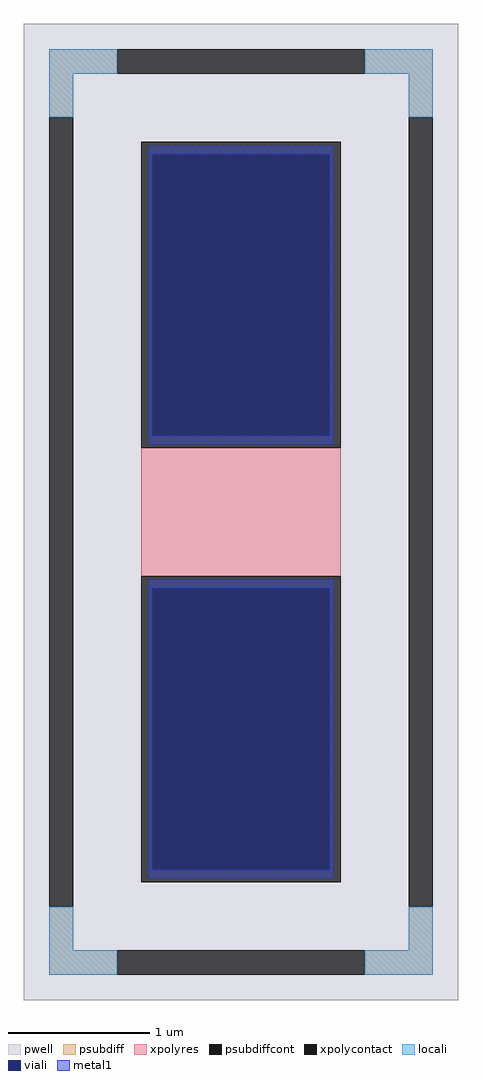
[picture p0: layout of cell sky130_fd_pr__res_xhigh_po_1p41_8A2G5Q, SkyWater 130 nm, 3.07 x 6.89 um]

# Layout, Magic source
magic
tech sky130A
magscale 1 2
<< pwell >>
rect -307 -689 307 689
<< psubdiff >>
rect -271 619 -175 653
rect 175 619 271 653
rect -271 557 -237 619
rect 237 557 271 619
rect -271 -619 -237 -557
rect 237 -619 271 -557
rect -271 -653 -175 -619
rect 175 -653 271 -619
<< psubdiffcont >>
rect -175 619 175 653
rect -271 -557 -237 557
rect 237 -557 271 557
rect -175 -653 175 -619
<< xpolycontact >>
rect -141 91 141 523
rect -141 -523 141 -91
<< xpolyres >>
rect -141 -91 141 91
<< locali >>
rect -271 619 -175 653
rect 175 619 271 653
rect -271 557 -237 619
rect 237 557 271 619
rect -271 -619 -237 -557
rect 237 -619 271 -557
rect -271 -653 -175 -619
rect 175 -653 271 -619
<< viali >>
rect -125 108 125 505
rect -125 -505 125 -108
<< metal1 >>
rect -131 505 131 517
rect -131 108 -125 505
rect 125 108 131 505
rect -131 96 131 108
rect -131 -108 131 -96
rect -131 -505 -125 -108
rect 125 -505 131 -108
rect -131 -517 131 -505
<< properties >>
string FIXED_BBOX -254 -636 254 636
string gencell sky130_fd_pr__res_xhigh_po_1p41
string library sky130
string parameters w 1.410 l 1.066 m 1 nx 1 wmin 1.410 lmin 0.50 rho 2000 val 1.779k dummy 0 dw 0.0 term 188.2 sterm 0.0 caplen 0 wmax 1.410 guard 1 glc 1 grc 1 gtc 1 gbc 1 compatible {sky130_fd_pr__res_xhigh_po_0p35  sky130_fd_pr__res_xhigh_po_0p69 sky130_fd_pr__res_xhigh_po_1p41  sky130_fd_pr__res_xhigh_po_2p85 sky130_fd_pr__res_xhigh_po_5p73} snake 0 full_metal 1 n_guard 0 hv_guard 0 vias 1 viagb 0 viagt 0 viagl 0 viagr 0
<< end >>
